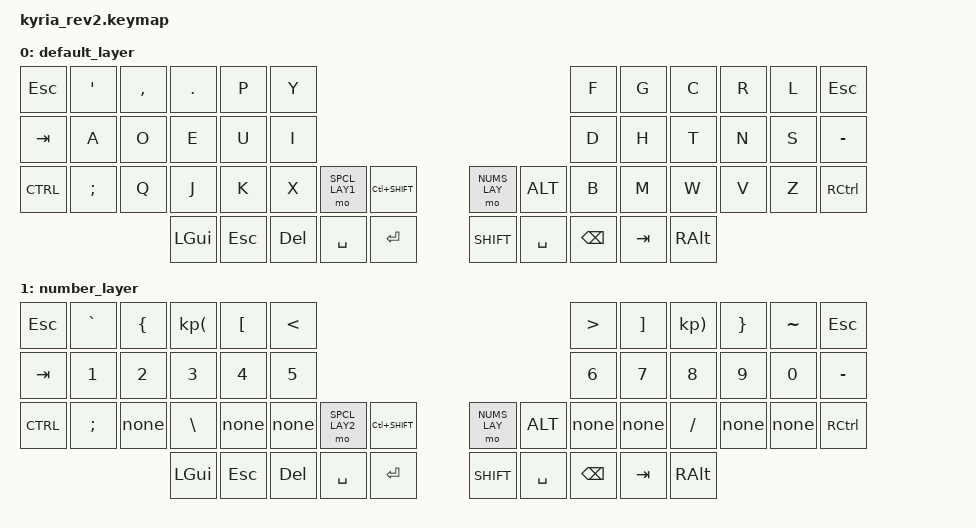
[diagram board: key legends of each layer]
/*
 * Copyright (c) 2020 The ZMK Contributors
 *
 * SPDX-License-Identifier: MIT
 */

#include <behaviors.dtsi>
#include <dt-bindings/zmk/keys.h>

// Bluetooth
#include <dt-bindings/zmk/bt.h>

#define ALPH_LAY 0
#define NUMS_LAY 1
#define SPCL_LAY1 2
#define SPCL_LAY2 3


/ {
	keymap {
		compatible = "zmk,keymap";

		default_layer {
// ---------------------------------------------------------------------------------------------------------------------------------
// | ESC  |  '  |  ,  |  .   |  P   |  Y   |                                               |  F   |  G  |  C  |  R  |  L  | ESC  |
// | TAB  |  A  |  O  |  E   |  U   |  I   |                                               |  D   |  H  |  T  |  N  |  S  |   -  |
// | CTRL |  ;  |  Q  |  J   |  K   |  X   | SPCL_LAY1 | LC(SHIFT) |    | NUMS_LAY |  ALT  |  B  |  M  |  W  |  V  |  Z  | CTRL |
//                        | GUI  | ESC  | DEL  |  SPACE  |   RET   |    |   SHIFT  | SPACE | BSPC  | TAB  | R-ALT |
			bindings = <
	&kp ESC   &kp APOS &kp COMMA &kp DOT &kp P &kp Y                                                  &kp F &kp G  &kp C &kp R   &kp L &kp ESC
	&kp TAB   &kp A &kp O &kp E &kp U &kp I                                                  &kp D &kp H  &kp T &kp N   &kp S &kp MINUS
	&kp CTRL  &kp SEMI &kp Q &kp J &kp K &kp X &mo SPCL_LAY1 &kp LC(SHIFT) &mo NUMS_LAY &kp ALT &kp B &kp M  &kp W &kp V   &kp Z &kp RCTRL
	                &kp LGUI &kp ESC &kp DEL &kp SPACE &kp RET            &kp SHIFT  &kp SPACE  &kp BSPC &kp TAB &kp RALT
			>;

			//sensor-bindings = <&inc_dec_kp J K &inc_dec_kp B W>;
		};

		number_layer {
// ---------------------------------------------------------------------------------------------------------------------------------
// | ESC  |  `  |  {  |  (   |  [   |  <   |                                               |  >   |  ]  |  )  |  }  |  ~  | ESC  |
// | TAB  |  1  |  2  |  3   |  4   |  5   |                                               |  6   |  7  |  8  |  9  |  0  |   -  |
// | CTRL |  ;  | NA  |  \   |  NA  |  NA  | SPCL_LAY2 | LC(SHIFT) |    | SPCL_LAY2 |  ALT  |  NA |  NA |  /  |  NA |  NA | CTRL |
//                        | GUI  | ESC  | DEL  |  SPACE  |   RET   |    |   SHIFT   | SPACE | BSPC  | TAB  | R-ALT |
			bindings = <
	&kp ESC &kp GRAVE &kp LBRC &kp KP_LPAR &kp LBKT &kp LT                               &kp GT &kp RBKT &kp KP_RPAR &kp RBRC &kp TILDE &kp ESC
	&kp TAB &kp 1 &kp 2 &kp 3 &kp 4 &kp 5                                                &kp 6 &kp 7  &kp 8     &kp 9   &kp 0 &kp MINUS
	&kp CTRL &kp SEMI &kp none &kp BSLH &kp none &kp none  &mo SPCL_LAY2   &kp LC(SHIFT) &mo NUMS_LAY &kp ALT &kp none &kp none  &kp FSLH &kp none &kp none &kp RCTRL
	                 &kp LGUI &kp ESC &kp DEL &kp SPACE &kp RET        &kp SHIFT  &kp SPACE  &kp BSPC &kp TAB &kp RALT
			>;

			//sensor-bindings = <&inc_dec_kp C_VOL_UP C_VOL_DN &inc_dec_kp C_BRI_UP C_BRI_DN>;
		};
	};

};
